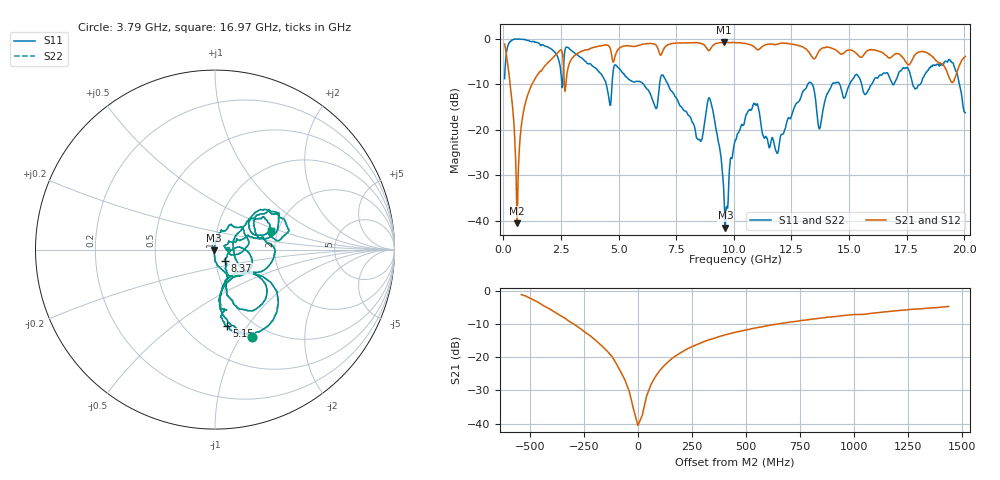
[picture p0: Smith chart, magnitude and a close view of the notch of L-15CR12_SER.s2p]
! P/N: L-15CR12JE
! Measured by Marlon
! Oct. 14, 2003
! Measure with Series-through-Fixture
#	mhz	s	ma	r	50
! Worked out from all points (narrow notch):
!   1001 points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, 50 MHz to 20.05 GHz, reference 50 ohm
!   highest |S21| = -0.69 dB at 9.57 GHz (marker M1); lowest = -40.6 dB at 590 MHz (marker M2)
!   notch at M2: 38.2 dB deep, 243 MHz wide at half that depth
!   lowest |S11| = -41.6 dB at 9.63 GHz (marker M3), VSWR 1.02, Z = 49.2 - j0.347 ohm
!   |S11| at or under -10 dB: 6.091 GHz to 6.775 GHz (684.3 MHz wide, 10.6 % of centre); 7.141 GHz to 13.2 GHz (6.062 GHz wide, 59.6 % of centre); 13.41 GHz to 14.26 GHz (855.3 MHz wide, 6.18 % of centre) (the widest 3 of 10)
!   |S22| runs from -41.6 to 0.0 dB; largest |S21 - S12| = 0
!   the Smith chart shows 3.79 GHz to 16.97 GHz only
!   S11 on the Smith chart (normalised r, x): 3.79 GHz: 0.82, -1.12; 5.15 GHz: 0.78, -0.81; 8.37 GHz: 1.11, -0.14; 16.97 GHz: 1.83, +0.42
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50  0.3668 64.3  0.8835 -20.3  0.8835 -20.3  0.3668 64.3
590  1 1.1  0.00937 0.0  0.00937 0.0  1 1.1
1290  0.9421 -21.2  0.3372 63.9  0.3372 63.9  0.9421 -21.2
3390  0.6218 -59.2  0.7322 31.3  0.7322 31.3  0.6218 -59.2
3790  0.5297 -67.3  0.793 24.4  0.793 24.4  0.5297 -67.3
4590  0.2114 -76.4  0.8318 2.4  0.8318 2.4  0.2114 -76.4
5150  0.4299 -81.0  0.8265 14.3  0.8265 14.3  0.4299 -81.0
6730  0.246 -32.4  0.7514 -11.5  0.7514 -11.5  0.246 -32.4
8370  0.08345 -48.3  0.9146 -13.5  0.9146 -13.5  0.08345 -48.3
8990  0.2075 -43.3  0.7825 -10.7  0.7825 -10.7  0.2075 -43.3
9570  0.01872 -106.8  0.9237 -17.5  0.9237 -17.5  0.01872 -106.8
9630  0.00835 -155.1  0.9204 -18.5  0.9204 -18.5  0.00835 -155.1
10050  0.0756 78.3  0.9111 -22.3  0.9111 -22.3  0.0756 78.3
10930  0.1937 33.4  0.8021 -30.3  0.8021 -30.3  0.1937 33.4
11870  0.05502 18.8  0.8768 -29.7  0.8768 -29.7  0.05502 18.8
13390  0.3209 -13.3  0.6408 -46.3  0.6408 -46.3  0.3209 -13.3
13730  0.1034 13.4  0.7601 -32.9  0.7601 -32.9  0.1034 13.4
14330  0.3274 33.8  0.7757 -46.9  0.7757 -46.9  0.3274 33.8
16730  0.3902 11.3  0.6219 -53.4  0.6219 -53.4  0.3902 11.3
16970  0.3262 18.4  0.6784 -49.0  0.6784 -49.0  0.3262 18.4
19410  0.5761 -18.1  0.3478 -61.9  0.3478 -61.9  0.5761 -18.1
20050  0.1546 -17.0  0.6448 -45.5  0.6448 -45.5  0.1546 -17.0
